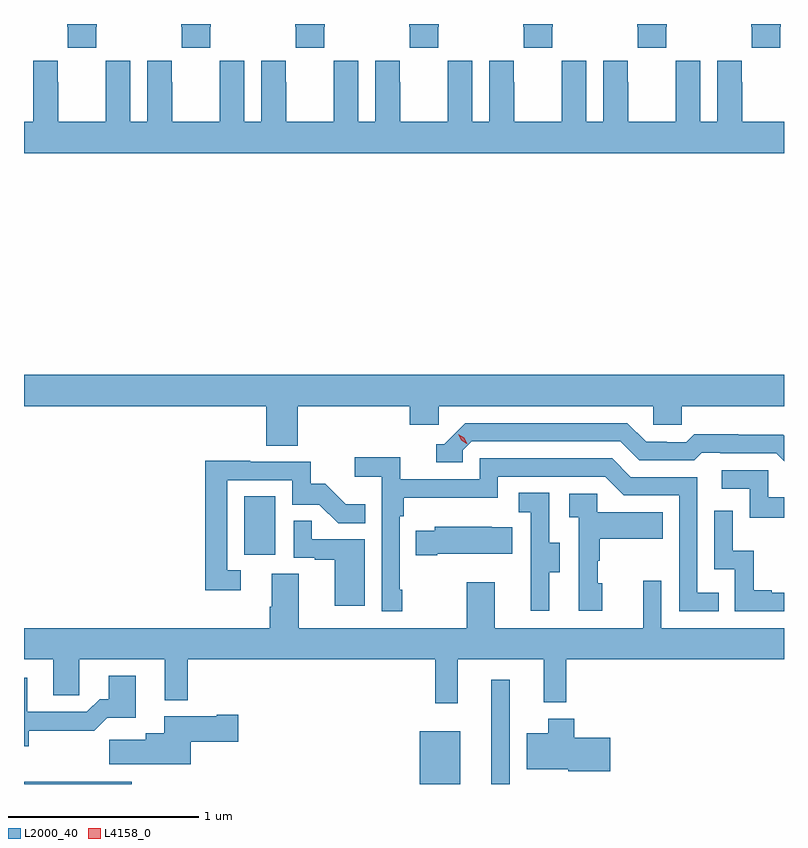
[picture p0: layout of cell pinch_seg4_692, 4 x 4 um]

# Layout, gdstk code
import gdstk
lib = gdstk.Library(unit=1e-6, precision=1e-09)
def R(c, l, rs):  # rectangles x0, y0, x1, y1
    for r in rs: c.add(gdstk.rectangle(r[:2], r[2:], *l))
def P(c, l, *ps):  # polygons
    for p in ps: c.add(gdstk.Polygon(p, *l))
L2000_40 = (2000, 40)
L4158_0 = (4158, 0)

pinch_seg4_692 = lib.new_cell('pinch_seg4_692')
R(pinch_seg4_692, L2000_40, [(1089.236,752.207,1089.802,752.218), (1091.318,752.207,1091.533,752.485), (1091.696,752.207,1091.793,752.755), (1090.394,753.414,1090.558,753.721)])
P(pinch_seg4_692, L2000_40, [(1090.215,756.193),(1090.218,756.193),(1090.218,756.207),(1090.063,756.207),(1090.063,756.193),(1090.065,756.193),(1090.065,756.081),(1090.215,756.081)],
  [(1089.615,756.193),(1089.618,756.193),(1089.618,756.207),(1089.463,756.207),(1089.463,756.193),(1089.465,756.193),(1089.465,756.081),(1089.615,756.081)],
  [(1093.215,756.193),(1093.218,756.193),(1093.218,756.207),(1093.063,756.207),(1093.063,756.193),(1093.065,756.193),(1093.065,756.081),(1093.215,756.081)],
  [(1092.615,756.193),(1092.618,756.193),(1092.618,756.207),(1092.463,756.207),(1092.463,756.193),(1092.465,756.193),(1092.465,756.081),(1092.615,756.081)],
  [(1092.015,756.193),(1092.018,756.193),(1092.018,756.207),(1091.863,756.207),(1091.863,756.193),(1091.865,756.193),(1091.865,756.081),(1092.015,756.081)],
  [(1091.415,756.193),(1091.418,756.193),(1091.418,756.207),(1091.263,756.207),(1091.263,756.193),(1091.265,756.193),(1091.265,756.081),(1091.415,756.081)],
  [(1090.815,756.193),(1090.818,756.193),(1090.818,756.207),(1090.663,756.207),(1090.663,756.193),(1090.665,756.193),(1090.665,756.081),(1090.815,756.081)],
  [(1089.414,755.9),(1089.414,756.013),(1089.284,756.013),(1089.284,755.692),(1089.236,755.692),(1089.236,755.528),(1093.236,755.528),(1093.236,755.692),(1093.015,755.692),(1093.015,755.9),(1093.014,755.9),(1093.014,756.013),(1092.884,756.013),(1092.884,755.692),(1092.796,755.692),(1092.796,756.013),(1092.666,756.013),(1092.666,755.9),(1092.665,755.9),(1092.665,755.692),(1092.415,755.692),(1092.415,755.9),(1092.414,755.9),(1092.414,756.013),(1092.284,756.013),(1092.284,755.692),(1092.196,755.692),(1092.196,756.013),(1092.066,756.013),(1092.066,755.9),(1092.065,755.9),(1092.065,755.692),(1091.815,755.692),(1091.815,755.9),(1091.814,755.9),(1091.814,756.013),(1091.684,756.013),(1091.684,755.692),(1091.596,755.692),(1091.596,756.013),(1091.466,756.013),(1091.466,755.9),(1091.465,755.9),(1091.465,755.692),(1091.215,755.692),(1091.215,755.9),(1091.214,755.9),(1091.214,756.013),(1091.084,756.013),(1091.084,755.692),(1090.996,755.692),(1090.996,756.013),(1090.866,756.013),(1090.866,755.9),(1090.865,755.9),(1090.865,755.692),(1090.615,755.692),(1090.615,755.9),(1090.614,755.9),(1090.614,756.013),(1090.484,756.013),(1090.484,755.692),(1090.396,755.692),(1090.396,756.013),(1090.266,756.013),(1090.266,755.9),(1090.265,755.9),(1090.265,755.692),(1090.015,755.692),(1090.015,755.9),(1090.014,755.9),(1090.014,756.013),(1089.884,756.013),(1089.884,755.692),(1089.796,755.692),(1089.796,756.013),(1089.666,756.013),(1089.666,755.9),(1089.665,755.9),(1089.665,755.692),(1089.415,755.692),(1089.415,755.9)],
  [(1090.676,754.196),(1091.267,754.196),(1091.267,754.098),(1091.418,754.098),(1091.418,754.196),(1092.549,754.196),(1092.549,754.098),(1092.699,754.098),(1092.699,754.196),(1093.236,754.196),(1093.236,754.36),(1089.236,754.36),(1089.236,754.196),(1090.511,754.196),(1090.511,753.988),(1090.676,753.988)],
  [(1091.544,753.963),(1091.592,754.011),(1092.375,754.011),(1092.474,753.912),(1092.763,753.912),(1092.802,753.951),(1092.901,753.951),(1092.901,753.948),(1093.194,753.948),(1093.236,753.906),(1093.236,754.041),(1093.232,754.045),(1092.996,754.045),(1092.996,754.048),(1092.763,754.048),(1092.721,754.005),(1092.618,754.005),(1092.618,754.008),(1092.511,754.008),(1092.412,754.107),(1091.559,754.107),(1091.448,753.996),(1091.405,753.996),(1091.405,753.9),(1091.544,753.9)],
  [(1091.227,753.229),(1091.214,753.229),(1091.214,753.617),(1091.234,753.617),(1091.234,753.713),(1091.73,753.713),(1091.73,753.825),(1092.294,753.825),(1092.393,753.726),(1092.684,753.726),(1092.684,753.117),(1092.893,753.117),(1092.893,753.213),(1092.78,753.213),(1092.78,753.822),(1092.43,753.822),(1092.331,753.921),(1091.634,753.921),(1091.634,753.81),(1091.216,753.81),(1091.216,753.926),(1090.977,753.926),(1090.977,753.824),(1091.118,753.824),(1091.118,753.117),(1091.227,753.117)],
  [(1090.378,753.333),(1090.305,753.333),(1090.305,753.807),(1090.647,753.807),(1090.647,753.678),(1090.791,753.678),(1090.889,753.58),(1091.033,753.58),(1091.033,753.679),(1090.929,753.679),(1090.822,753.786),(1090.746,753.786),(1090.746,753.903),(1090.427,753.903),(1090.427,753.908),(1090.189,753.908),(1090.189,753.228),(1090.378,753.228)],
  [(1093.236,753.717),(1093.152,753.717),(1093.152,753.858),(1092.909,753.858),(1092.909,753.762),(1093.056,753.762),(1093.056,753.609),(1093.236,753.609)],
  [(1092.001,753.322),(1092.055,753.322),(1092.055,753.477),(1092,753.477),(1092,753.74),(1091.841,753.74),(1091.841,753.637),(1091.904,753.637),(1091.904,753.333),(1091.903,753.333),(1091.903,753.12),(1092.001,753.12)],
  [(1092.28,753.264),(1092.255,753.264),(1092.255,753.383),(1092.265,753.383),(1092.265,753.497),(1092.599,753.497),(1092.599,753.637),(1092.252,753.637),(1092.252,753.735),(1092.105,753.735),(1092.105,753.611),(1092.156,753.611),(1092.156,753.12),(1092.28,753.12)],
  [(1093.236,753.213),(1093.171,753.213),(1093.171,753.226),(1093.076,753.226),(1093.076,753.434),(1092.966,753.434),(1092.966,753.646),(1092.87,753.646),(1092.87,753.336),(1092.978,753.336),(1092.978,753.117),(1093.236,753.117)],
  [(1091.029,753.495),(1090.751,753.495),(1090.751,753.593),(1090.656,753.593),(1090.656,753.399),(1090.767,753.399),(1090.767,753.387),(1090.871,753.387),(1090.871,753.144),(1091.029,753.144)],
  [(1091.41,753.419),(1091.807,753.419),(1091.807,753.559),(1091.699,753.559),(1091.699,753.562),(1091.397,753.562),(1091.397,753.541),(1091.299,753.541),(1091.299,753.412),(1091.41,753.412)],
  [(1091.519,752.864),(1091.972,752.864),(1091.972,752.636),(1092.089,752.636),(1092.089,752.864),(1093.236,752.864),(1093.236,753.028),(1092.591,753.028),(1092.591,753.277),(1092.494,753.277),(1092.494,753.028),(1091.713,753.028),(1091.713,753.268),(1091.566,753.268),(1091.566,753.028),(1090.681,753.028),(1090.681,753.314),(1090.541,753.314),(1090.541,753.14),(1090.529,753.14),(1090.529,753.028),(1089.236,753.028),(1089.236,752.864),(1089.389,752.864),(1089.389,752.674),(1089.528,752.674),(1089.528,752.864),(1089.977,752.864),(1089.977,752.648),(1090.099,752.648),(1090.099,752.864),(1091.401,752.864),(1091.401,752.631),(1091.519,752.631)],
  [(1089.261,752.486),(1089.605,752.486),(1089.674,752.555),(1089.823,752.555),(1089.823,752.776),(1089.683,752.776),(1089.683,752.653),(1089.634,752.653),(1089.567,752.586),(1089.253,752.586),(1089.253,752.767),(1089.236,752.767),(1089.236,752.405),(1089.261,752.405)],
  [(1090.114,752.429),(1090.363,752.429),(1090.363,752.571),(1090.25,752.571),(1090.25,752.563),(1089.974,752.563),(1089.974,752.473),(1089.878,752.473),(1089.878,752.441),(1089.684,752.441),(1089.684,752.312),(1090.114,752.312)],
  [(1092.322,752.451),(1092.131,752.451),(1092.131,752.551),(1091.996,752.551),(1091.996,752.473),(1091.882,752.473),(1091.882,752.285),(1092.1,752.285),(1092.1,752.273),(1092.322,752.273)])
P(pinch_seg4_692, L4158_0, [(1091.567,753.997),(1091.537,754.016),(1091.521,754.049),(1091.521,754.049),(1091.521,754.049),(1091.552,754.03),(1091.568,753.997),(1091.568,753.997)])

lib.write_gds('pinch_seg4_692.gds')
